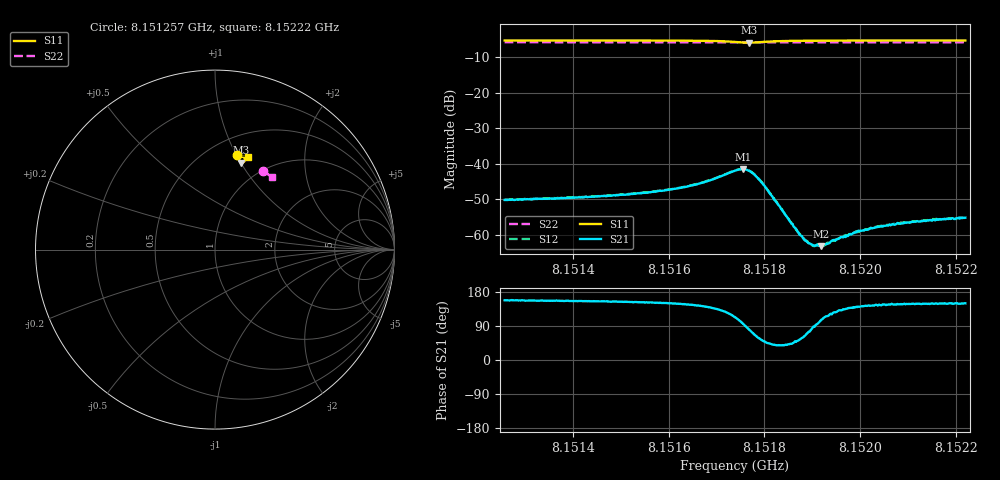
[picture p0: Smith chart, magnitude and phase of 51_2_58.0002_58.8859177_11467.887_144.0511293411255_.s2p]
#  HZ  S  RI  R  50.00
! Rohde & Schwarz Vector Network Analyzer
! Rohde-Schwarz,ZNB20-2Port,1311601062101988,3.16
! Created: UTC 3/21/2024, 12:52:35 AM
! freq[Hz]  re:S11  im:S11  re:S21  im:S21  re:S12  im:S12  re:S22  im:S22
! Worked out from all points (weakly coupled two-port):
!   401 points, 8.151257 GHz to 8.15222 GHz, reference 50 ohm
!   highest |S21| = -41.54 dB at 8.151755 GHz (marker M1); lowest = -63.2 dB at 8.151919 GHz (marker M2)
!   lowest |S11| = -5.9 dB at 8.151767 GHz (marker M3), VSWR 3.05, Z = 38.5 + j50.2 ohm
!   |S11| at or under -10 dB: nowhere
!   |S22| runs from -5.8 to -5.8 dB; largest |S21 - S12| = 0.00016
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8.1512574e9  0.1235 0.5293  -0.00285 0.00118  -0.00288 0.00124  0.2677 0.439
8.1514185e9  0.136 0.5263  -0.00307 0.00139  -0.00307 0.00144  0.2763 0.4333
8.1515148e9  0.144 0.5237  -0.00331 0.00168  -0.00332 0.00172  0.2815 0.4296
8.1515797e9  0.15 0.5216  -0.00359 0.00201  -0.00361 0.00205  0.2851 0.4271
8.1516591e9  0.1593 0.5159  -0.00414 0.00302  -0.00415 0.0031  0.2893 0.424
8.1516904e9  0.1635 0.5109  -0.00442 0.00401  -0.00437 0.00412  0.2909 0.4226
8.1517385e9  0.164 0.4927  -0.00312 0.00733  -0.00307 0.00745  0.2932 0.4203
8.1517553e9  0.1551 0.4853  -0.000838 0.00834  -0.00071 0.00841  0.2935 0.4196
8.1517673e9  0.1454 0.4851  0.00124 0.00789  0.00138 0.00794  0.2937 0.4192
8.1517794e9  0.1373 0.4906  0.00277 0.00643  0.00285 0.00646  0.2943 0.4193
8.1517962e9  0.1336 0.5012  0.0033 0.00407  0.00338 0.00409  0.2949 0.419
8.1518684e9  0.1477 0.518  0.000715 0.000866  0.000723 0.000856  0.2995 0.4167
8.151878e9  0.1492 0.5182  0.000505 0.000814  0.000509 0.00078  0.3001 0.4163
8.1518876e9  0.1508 0.5186  0.000293 0.000752  0.000308 0.000767  0.3005 0.416
8.1518996e9  0.1526 0.5188  8.39e-05 0.000721  7.18e-05 0.000705  0.3011 0.4153
8.1519189e9  0.1553 0.5188  -0.000195 0.000662  -0.000172 0.000684  0.3022 0.4146
8.151991e9  0.163 0.5181  -0.000825 0.000683  -0.000864 0.000707  0.306 0.4118
8.1520343e9  0.1672 0.5173  -0.00105 0.000724  -0.00104 0.000783  0.3082 0.4101
8.1520608e9  0.1694 0.5167  -0.00115 0.000774  -0.00114 0.000769  0.3096 0.409
8.1520897e9  0.1717 0.5162  -0.00123 0.000783  -0.00124 0.000825  0.311 0.408
8.152157e9  0.1771 0.5147  -0.00137 0.000816  -0.00141 0.000884  0.3145 0.4052
8.1522196e9  0.1818 0.5133  -0.0015 0.000881  -0.00149 0.000902  0.3177 0.4025
